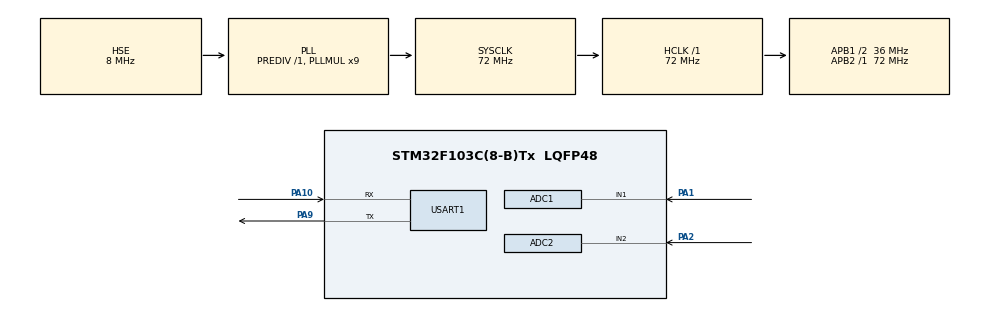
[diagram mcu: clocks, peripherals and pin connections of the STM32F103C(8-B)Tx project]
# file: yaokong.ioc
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ADC1.Channel-0\#ChannelRegularConversion=ADC_CHANNEL_1
ADC1.NbrOfConversionFlag=1
ADC1.Rank-0\#ChannelRegularConversion=1
ADC1.SamplingTime-0\#ChannelRegularConversion=ADC_SAMPLETIME_1CYCLE_5
ADC1.master=1
ADC2.Channel-2\#ChannelRegularConversion=ADC_CHANNEL_2
ADC2.NbrOfConversionFlag=1
ADC2.Rank-2\#ChannelRegularConversion=1
ADC2.SamplingTime-2\#ChannelRegularConversion=ADC_SAMPLETIME_1CYCLE_5
FREERTOS.Tasks01=control,24,512,controlTask,Default,NULL,Dynamic,NULL,NULL;OLED,8,128,OLEDshow,Default,NULL,Dynamic,NULL,NULL
Mcu.Family=STM32F1
Mcu.Name=STM32F103C(8-B)Tx
Mcu.Package=LQFP48
NVIC.PriorityGroup=NVIC_PRIORITYGROUP_4
NVIC.TIM1_UP_IRQn=true\:15\:0\:false\:false\:true\:false\:false\:true
NVIC.TimeBase=TIM1_UP_IRQn
NVIC.TimeBaseIP=TIM1
PA1.Signal=ADCx_IN1
PA10.Mode=Asynchronous
PA10.Signal=USART1_RX
PA13.Mode=Trace_Asynchronous_SW
PA13.Signal=SYS_JTMS-SWDIO
PA14.Mode=Trace_Asynchronous_SW
PA14.Signal=SYS_JTCK-SWCLK
PA2.Signal=ADCx_IN2
PA9.Mode=Asynchronous
PA9.Signal=USART1_TX
PB3.Mode=Trace_Asynchronous_SW
PB3.Signal=SYS_JTDO-TRACESWO
PC14-OSC32_IN.Mode=LSE-External-Oscillator
PC14-OSC32_IN.Signal=RCC_OSC32_IN
PC15-OSC32_OUT.Mode=LSE-External-Oscillator
PC15-OSC32_OUT.Signal=RCC_OSC32_OUT
PD0-OSC_IN.Mode=HSE-External-Oscillator
PD0-OSC_IN.Signal=RCC_OSC_IN
PD1-OSC_OUT.Mode=HSE-External-Oscillator
PD1-OSC_OUT.Signal=RCC_OSC_OUT
ProjectManager.HeapSize=0x200
ProjectManager.StackSize=0x400
ProjectManager.TargetToolchain=SW4STM32
RCC.ADCPresc=RCC_ADCPCLK2_DIV6
RCC.AHBFreq_Value=72000000
RCC.APB1CLKDivider=RCC_HCLK_DIV2
RCC.APB1Freq_Value=36000000
RCC.APB1TimFreq_Value=72000000
RCC.APB2Freq_Value=72000000
RCC.APB2TimFreq_Value=72000000
RCC.HCLKFreq_Value=72000000
RCC.PLLMUL=RCC_PLL_MUL9
RCC.PLLSourceVirtual=RCC_PLLSOURCE_HSE
RCC.SYSCLKFreq_VALUE=72000000
RCC.SYSCLKSource=RCC_SYSCLKSOURCE_PLLCLK
RCC.USBFreq_Value=72000000
SH.ADCx_IN1.0=ADC1_IN1,IN1
SH.ADCx_IN2.0=ADC2_IN2,IN2
USART1.VirtualMode=VM_ASYNC
VP_FREERTOS_VS_CMSIS_V2.Mode=CMSIS_V2
VP_SYS_VS_tim1.Mode=TIM1
VP_TIM2_VS_ClockSourceINT.Mode=Internal
board=custom

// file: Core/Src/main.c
/* USER CODE BEGIN Header */
/**
  ******************************************************************************
  * @file           : main.c
  * @brief          : Main program body
  ******************************************************************************
  * @attention
  *
  * <h2><center>&copy; Copyright (c) 2023 STMicroelectronics.
  * All rights reserved.</center></h2>
  *
  * This software component is licensed by ST under Ultimate Liberty license
  * SLA0044, the "License"; You may not use this file except in compliance with
  * the License. You may obtain a copy of the License at:
  *                             www.st.com/SLA0044
  *
  ******************************************************************************
  */
/* USER CODE END Header */
#include "main.h"
#include "cmsis_os.h"
#include "adc.h"
#include "tim.h"
#include "usart.h"
#include "gpio.h"

void SystemClock_Config(void);
void MX_FREERTOS_Init(void);

int main(void)
{

  /* MCU Configuration--------------------------------------------------------*/

  /* Reset of all peripherals, Initializes the Flash interface and the Systick. */
  HAL_Init();

  /* Configure the system clock */
  SystemClock_Config();

  /* Initialize all configured peripherals */
  MX_GPIO_Init();
  MX_USART1_UART_Init();
  MX_TIM2_Init();
  MX_ADC1_Init();
  MX_ADC2_Init();

  /* Init scheduler */
  osKernelInitialize();  /* Call init function for freertos objects (in freertos.c) */
  MX_FREERTOS_Init();
  /* Start scheduler */
  osKernelStart();

  /* We should never get here as control is now taken by the scheduler */
  /* Infinite loop */
  while (1)
  {

  }
}

void SystemClock_Config(void)
{
  RCC_OscInitTypeDef RCC_OscInitStruct = {0};
  RCC_ClkInitTypeDef RCC_ClkInitStruct = {0};
  RCC_PeriphCLKInitTypeDef PeriphClkInit = {0};

  /** Initializes the RCC Oscillators according to the specified parameters
  * in the RCC_OscInitTypeDef structure.
  */
  RCC_OscInitStruct.OscillatorType = RCC_OSCILLATORTYPE_HSE;
  RCC_OscInitStruct.HSEState = RCC_HSE_ON;
  RCC_OscInitStruct.HSEPredivValue = RCC_HSE_PREDIV_DIV1;
  RCC_OscInitStruct.HSIState = RCC_HSI_ON;
  RCC_OscInitStruct.PLL.PLLState = RCC_PLL_ON;
  RCC_OscInitStruct.PLL.PLLSource = RCC_PLLSOURCE_HSE;
  RCC_OscInitStruct.PLL.PLLMUL = RCC_PLL_MUL9;
  if (HAL_RCC_OscConfig(&RCC_OscInitStruct) != HAL_OK)
  {
    Error_Handler();
  }
  /** Initializes the CPU, AHB and APB buses clocks
  */
  RCC_ClkInitStruct.ClockType = RCC_CLOCKTYPE_HCLK|RCC_CLOCKTYPE_SYSCLK
                              |RCC_CLOCKTYPE_PCLK1|RCC_CLOCKTYPE_PCLK2;
  RCC_ClkInitStruct.SYSCLKSource = RCC_SYSCLKSOURCE_PLLCLK;
  RCC_ClkInitStruct.AHBCLKDivider = RCC_SYSCLK_DIV1;
  RCC_ClkInitStruct.APB1CLKDivider = RCC_HCLK_DIV2;
  RCC_ClkInitStruct.APB2CLKDivider = RCC_HCLK_DIV1;

  if (HAL_RCC_ClockConfig(&RCC_ClkInitStruct, FLASH_LATENCY_2) != HAL_OK)
  {
    Error_Handler();
  }
  PeriphClkInit.PeriphClockSelection = RCC_PERIPHCLK_ADC;
  PeriphClkInit.AdcClockSelection = RCC_ADCPCLK2_DIV6;
  if (HAL_RCCEx_PeriphCLKConfig(&PeriphClkInit) != HAL_OK)
  {
    Error_Handler();
  }
}

void HAL_TIM_PeriodElapsedCallback(TIM_HandleTypeDef *htim)
{
  if (htim->Instance == TIM1) {
    HAL_IncTick();
  }
}

void Error_Handler(void)
{
  __disable_irq();
  while (1)
  {
  }
}

/************************ (C) COPYRIGHT STMicroelectronics *****END OF FILE****/

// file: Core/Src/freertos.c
/* USER CODE BEGIN Header */
/**
  ******************************************************************************
  * File Name          : freertos.c
  * Description        : Code for freertos applications
  ******************************************************************************
  * @attention
  *
  * <h2><center>&copy; Copyright (c) 2023 STMicroelectronics.
  * All rights reserved.</center></h2>
  *
  * This software component is licensed by ST under Ultimate Liberty license
  * SLA0044, the "License"; You may not use this file except in compliance with
  * the License. You may obtain a copy of the License at:
  *                             www.st.com/SLA0044
  *
  ******************************************************************************
  */
/* USER CODE END Header */

#include "FreeRTOS.h"
#include "task.h"
#include "main.h"
#include "cmsis_os.h"

/* USER CODE BEGIN Includes */
//#include"debug_com.h"
#include"yaogan.h"
#include"u8g2.h"
#include"oled.h"

#include"my_menu .h"
/* USER CODE END Includes */

/* USER CODE BEGIN PTD */
extern u8g2_t u8g2;
extern int y_task;
extern int x_task;
/* USER CODE END PTD */

/* Definitions for control */
osThreadId_t controlHandle;
const osThreadAttr_t control_attributes = {
  .name = "control",
  .stack_size = 512 * 4,
  .priority = (osPriority_t) osPriorityNormal,
};
/* Definitions for OLED */
osThreadId_t OLEDHandle;
const osThreadAttr_t OLED_attributes = {
  .name = "OLED",
  .stack_size = 128 * 4,
  .priority = (osPriority_t) osPriorityLow,
};

void controlTask(void *argument);
void OLEDshow(void *argument);

void MX_FREERTOS_Init(void); /* (MISRA C 2004 rule 8.1) */

void MX_FREERTOS_Init(void) {

  /* Create the thread(s) */
  /* creation of control */
  controlHandle = osThreadNew(controlTask, NULL, &control_attributes);

  /* creation of OLED */
  OLEDHandle = osThreadNew(OLEDshow, NULL, &OLED_attributes);

}

void controlTask(void *argument)
{
  /* USER CODE BEGIN controlTask */
    my_u8g2_init();
  /* Infinite loop */
  for(;;)
  {
      switch_print();
    osDelay(20);
  }
  /* USER CODE END controlTask */
}

void OLEDshow(void *argument)
{
  /* USER CODE BEGIN OLEDshow */

  /* Infinite loop */
  for(;;)
  {

      u8g2_DrawCircle(&u8g2,64,32,32,U8G2_DRAW_ALL);
      u8g2_SendBuffer(&u8g2);

      u8g2_DrawDisc(&u8g2,64+x_task,32+y_task,10,U8G2_DRAW_ALL);
      u8g2_SendBuffer(&u8g2);
      u8g2_ClearBuffer(&u8g2);

    osDelay(10);
  }
  /* USER CODE END OLEDshow */
}

/************************ (C) COPYRIGHT STMicroelectronics *****END OF FILE****/
